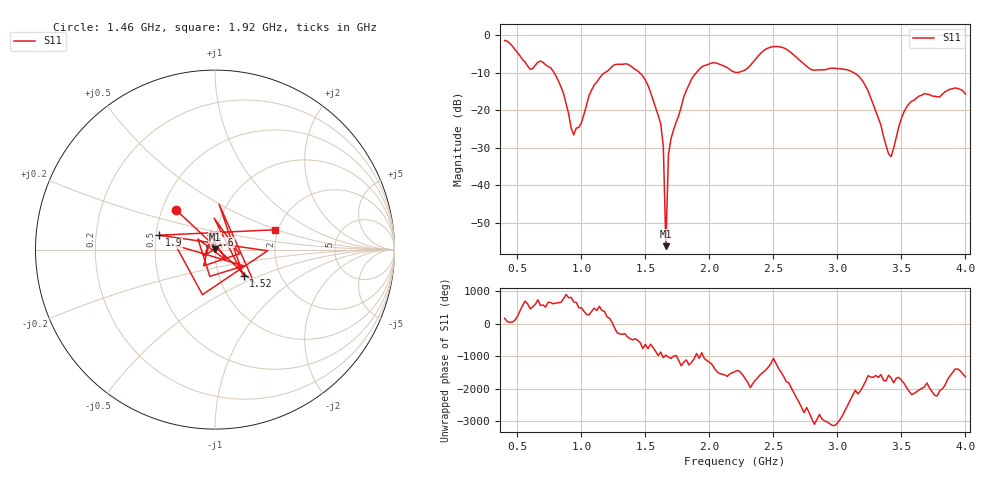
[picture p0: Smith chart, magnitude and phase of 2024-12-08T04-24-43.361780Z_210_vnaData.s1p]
!Created with skrf (http://scikit-rf.org).
# Hz S RI R 50.0
!freq ReS11 ImS11
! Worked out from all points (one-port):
!   181 points, 400 MHz to 4 GHz, reference 50 ohm
!   lowest |S11| = -56.2 dB at 1.66 GHz (marker M1), VSWR 1.00, Z = 49.9 + j0.14 ohm
!   |S11| at or under -10 dB: 787.4 MHz to 1.178 GHz (390.9 MHz wide, 39.8 % of centre); 1.457 GHz to 1.897 GHz (439.6 MHz wide, 26.2 % of centre); 3.131 GHz to end of sweep
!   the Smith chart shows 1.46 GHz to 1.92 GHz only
!   S11 on the Smith chart (normalised r, x): 1.46 GHz: 0.59, +0.29; 1.52 GHz: 1.31, -0.40; 1.6 GHz: 0.95, +0.16; 1.9 GHz: 0.52, +0.09; 1.92 GHz: 1.93, +0.49
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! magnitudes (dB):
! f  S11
! 400 MHz  -1.3
! 600 MHz  -9.0
! 760 MHz  -8.6
! 860 MHz  -15.4
! 940 MHz  -26.5
! 1.1 GHz  -13.3
! 1.3 GHz  -7.7
! 1.46 GHz  -10.1
! 1.52 GHz  -13.3
! 1.6 GHz  -21.3
! 1.64 GHz  -29.6
! 1.66 GHz  -56.2
! 1.68 GHz  -31.8
! 1.76 GHz  -21.4
! 1.9 GHz  -9.9
! 1.92 GHz  -9.0
! 2.04 GHz  -7.2
! 2.2 GHz  -9.8
! 2.48 GHz  -3.1
! 2.66 GHz  -5.2
! 2.8 GHz  -9.2
! 3.1 GHz  -9.4
! 3.24 GHz  -14.8
! 3.42 GHz  -32.3
! 3.5 GHz  -22.1
! 3.56 GHz  -18.2
! 3.92 GHz  -14.0
! 4 GHz  -15.7
